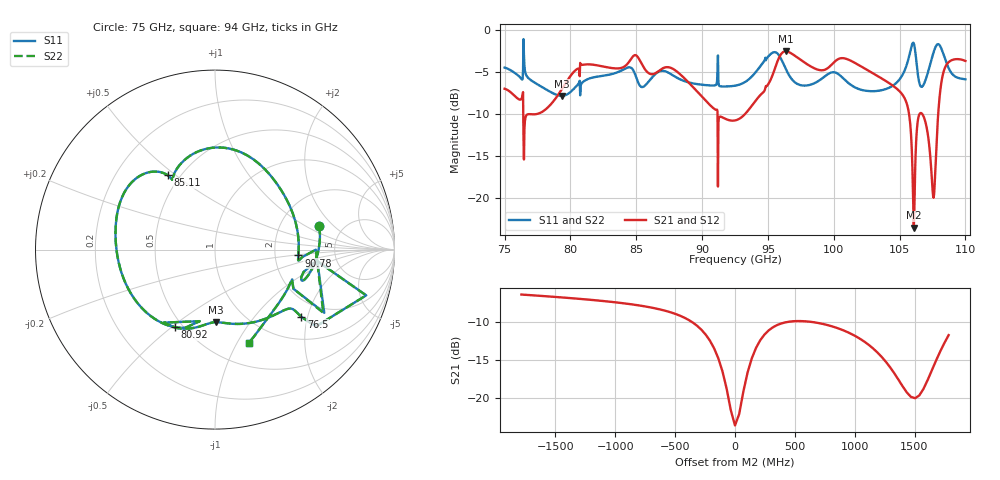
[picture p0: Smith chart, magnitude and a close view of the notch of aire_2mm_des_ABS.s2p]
! TOUCHSTONE file generated by CST MICROWAVE STUDIO
! Date and time: Thu Feb  8 14:51:03 2024
! Project name: aire_des.cst
! Header version: 2018
! Port assignment regex: !\s*Touchstone port\s*([0-9]+)\s*=\s*(CST MWS port|CST DS port)\s*([0-9]+|Zmin|Zmax)\s*\(\"(.*)\"\)(\s*mode\s*([0-9]+))?.*
! Touchstone port assignment:
! Touchstone port 1 = CST MWS port 1 ("")
! Touchstone port 2 = CST MWS port 2 ("")
# GHz S MA R 376.7
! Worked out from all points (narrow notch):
!   1001 points, 75 GHz to 110 GHz, reference 376.7 ohm
!   highest |S21| = -2.56 dB at 96.35 GHz (marker M1); lowest = -23.6 dB at 106.1 GHz (marker M2)
!   notch at M2: 18.3 dB deep, 299 MHz wide at half that depth
!   lowest |S11| = -7.9 dB at 79.34 GHz (marker M3), VSWR 2.36, Z = 273 - j264 ohm
!   |S11| at or under -10 dB: nowhere
!   |S22| runs from -7.9 to -1.1 dB; largest |S21 - S12| = 0.065
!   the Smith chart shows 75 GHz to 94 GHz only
!   S11 on the Smith chart (normalised r, x): 75 GHz: 3.34, +1.37; 76.5 GHz: 1.53, -1.83; 80.92 GHz: 0.45, -0.51; 85.11 GHz: 0.43, +0.47; 90.78 GHz: 2.72, -0.23; 94 GHz: 0.75, -1.12
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75  0.5959 12.8  0.4456 159.4  0.4457 159.4  0.5959 12.8
76.505  0.6102 -37.9  0.2559 159.7  0.2563 159.6  0.6101 -37.9
79.34  0.4042 -89.3  0.4422 144.9  0.4422 144.9  0.4042 -89.2
80.845  0.4796 -114.8  0.6184 118.5  0.6185 118.5  0.4799 -114.8
80.915  0.4866 -117.3  0.6185 116.4  0.6186 116.4  0.4869 -117.3
83.47  0.5548 175.4  0.5887 73.1  0.5883 73.1  0.5548 175.4
85.115  0.4916 122.5  0.6884 41.9  0.6885 41.9  0.4913 122.5
86.69  0.5618 96.1  0.5671 25.5  0.5668 25.5  0.5618 96.1
90.785  0.4658 -4.0  0.3454 -35.8  0.3456 -35.8  0.4655 -4.1
92.5  0.4647 -41.0  0.2886 -30.7  0.2887 -30.7  0.4645 -41.0
94.005  0.5511 -70.0  0.3731 -29.3  0.373 -29.3  0.5512 -70.0
95.265  0.7231 -110.4  0.5167 -36.6  0.5159 -36.6  0.7235 -110.4
96.35  0.5862 -156.0  0.7446 -67.9  0.7453 -67.9  0.5857 -156.1
98.345  0.4742 171.8  0.5998 -109.1  0.5997 -109.1  0.4742 171.8
100.48  0.535 113.8  0.6756 -136.0  0.6757 -136.0  0.5349 113.8
104.19  0.4513 42.9  0.4825 156.6  0.4824 156.6  0.4516 43.0
105.555  0.6224 18.8  0.362 116.9  0.3617 117.0  0.6227 18.8
106.08  0.829 -16.4  0.06643 -26.6  0.06528 -26.6  0.829 -16.4
106.64  0.4579 -28.2  0.3194 166.8  0.3196 166.7  0.4583 -28.1
107.585  0.7355 -37.5  0.1001 -179.7  0.1002 -179.6  0.7351 -37.4
108.075  0.8022 -69.0  0.423 -152.2  0.4228 -152.3  0.803 -68.8
110  0.5072 -115.8  0.6524 126.9  0.6521 126.8  0.5077 -115.7
